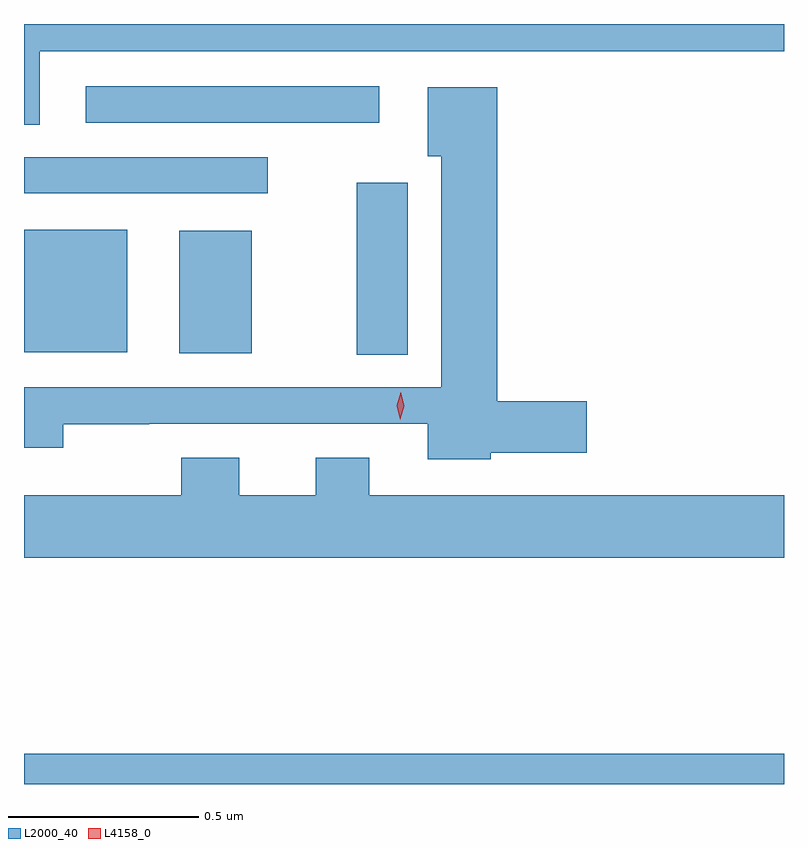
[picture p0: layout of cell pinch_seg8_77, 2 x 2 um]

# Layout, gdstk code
import gdstk
lib = gdstk.Library(unit=1e-6, precision=1e-09)
def R(c, l, rs):  # rectangles x0, y0, x1, y1
    for r in rs: c.add(gdstk.rectangle(r[:2], r[2:], *l))
def P(c, l, *ps):  # polygons
    for p in ps: c.add(gdstk.Polygon(p, *l))
L2000_40 = (2000, 40)
L4158_0 = (4158, 0)

pinch_seg8_77 = lib.new_cell('pinch_seg8_77')
R(pinch_seg8_77, L2000_40, [(1050.032,1121.232,1052.032,1121.312), (1050.908,1122.361,1051.042,1122.814), (1050.44,1122.365,1050.631,1122.688), (1050.032,1122.368,1050.304,1122.691), (1050.032,1122.786,1050.673,1122.882), (1050.195,1122.972,1050.967,1123.068)])
P(pinch_seg8_77, L2000_40, [(1050.073,1123.16),(1052.032,1123.16),(1052.032,1123.232),(1050.032,1123.232),(1050.032,1122.967),(1050.073,1122.967)],
  [(1051.26,1122.104),(1051.513,1122.104),(1051.513,1122.239),(1051.277,1122.239),(1051.277,1123.066),(1051.094,1123.066),(1051.094,1122.884),(1051.13,1122.884),(1051.13,1122.276),(1050.032,1122.276),(1050.032,1122.117),(1050.135,1122.117),(1050.135,1122.179),(1050.362,1122.179),(1050.362,1122.18),(1051.094,1122.18),(1051.094,1122.086),(1051.26,1122.086)],
  [(1052.032,1121.992),(1050.94,1121.992),(1050.94,1122.091),(1050.8,1122.091),(1050.8,1121.992),(1050.598,1121.992),(1050.598,1122.091),(1050.446,1122.091),(1050.446,1121.992),(1050.032,1121.992),(1050.032,1121.828),(1052.032,1121.828)])
P(pinch_seg8_77, L4158_0, [(1051.022,1122.191),(1051.022,1122.192),(1051.013,1122.227),(1051.023,1122.263),(1051.023,1122.263),(1051.023,1122.263),(1051.033,1122.227),(1051.022,1122.192)])

lib.write_gds('pinch_seg8_77.gds')
